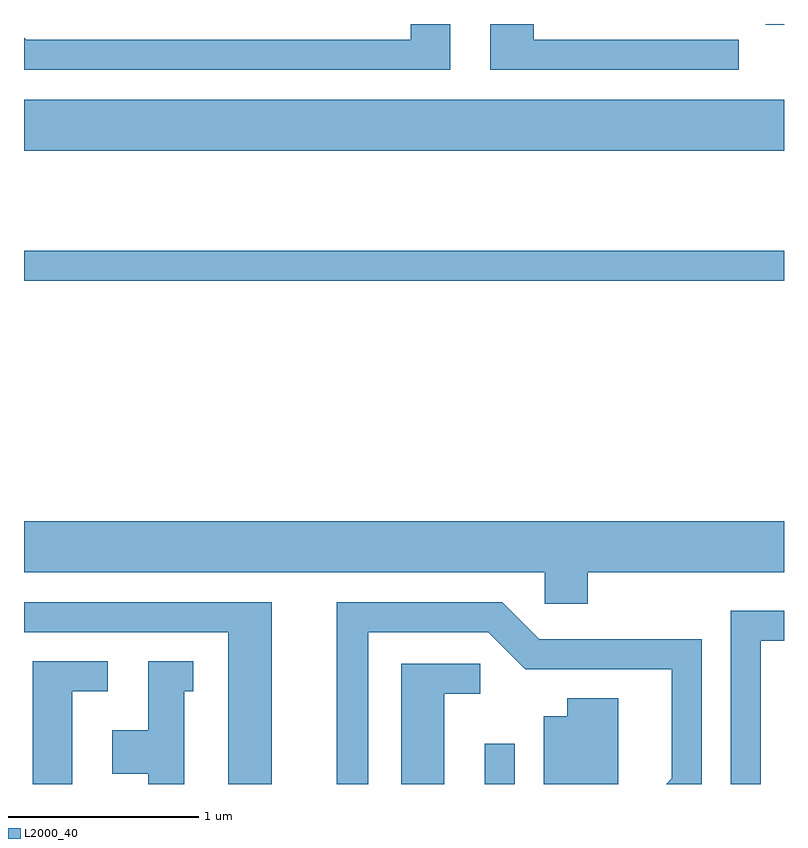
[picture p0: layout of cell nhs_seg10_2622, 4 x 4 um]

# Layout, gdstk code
import gdstk
lib = gdstk.Library(unit=1e-6, precision=1e-09)
def R(c, l, rs):  # rectangles x0, y0, x1, y1
    for r in rs: c.add(gdstk.rectangle(r[:2], r[2:], *l))
def P(c, l, *ps):  # polygons
    for p in ps: c.add(gdstk.Polygon(p, *l))
L2000_40 = (2000, 40)

nhs_seg10_2622 = lib.new_cell('nhs_seg10_2622')
R(nhs_seg10_2622, L2000_40, [(264.036,2170.522,264.194,2170.733), (261.611,2173.171,265.611,2173.329), (261.611,2173.856,265.611,2174.124), (265.516,2174.518,265.611,2174.522)])
P(nhs_seg10_2622, L2000_40, [(263.854,2174.522),(263.646,2174.522),(263.646,2174.439),(261.622,2174.439),(261.611,2174.45),(261.611,2174.281),(263.854,2174.281)],
  [(265.373,2174.439),(264.294,2174.439),(264.294,2174.522),(264.066,2174.522),(264.066,2174.281),(265.373,2174.281)],
  [(264.579,2171.636),(265.611,2171.636),(265.611,2171.904),(261.611,2171.904),(261.611,2171.636),(264.351,2171.636),(264.351,2171.471),(264.579,2171.471)],
  [(263.424,2171.321),(264.054,2171.321),(264.249,2171.126),(265.021,2171.126),(265.021,2170.552),(264.991,2170.522),(265.179,2170.522),(265.179,2171.284),(264.322,2171.284),(264.127,2171.479),(263.256,2171.479),(263.256,2170.522),(263.424,2170.522)],
  [(262.914,2171.479),(261.611,2171.479),(261.611,2171.321),(262.686,2171.321),(262.686,2170.522),(262.914,2170.522)],
  [(265.489,2171.276),(265.611,2171.276),(265.611,2171.434),(265.331,2171.434),(265.331,2170.522),(265.489,2170.522)],
  [(261.864,2171.011),(262.053,2171.011),(262.053,2171.169),(261.656,2171.169),(261.656,2170.522),(261.864,2170.522)],
  [(262.454,2171.011),(262.503,2171.011),(262.503,2171.169),(262.266,2171.169),(262.266,2170.804),(262.076,2170.804),(262.076,2170.576),(262.266,2170.576),(262.266,2170.522),(262.454,2170.522)],
  [(263.824,2170.996),(264.013,2170.996),(264.013,2171.154),(263.596,2171.154),(263.596,2170.522),(263.824,2170.522)],
  [(264.739,2170.974),(264.471,2170.974),(264.471,2170.879),(264.346,2170.879),(264.346,2170.522),(264.739,2170.522)])

lib.write_gds('nhs_seg10_2622.gds')
